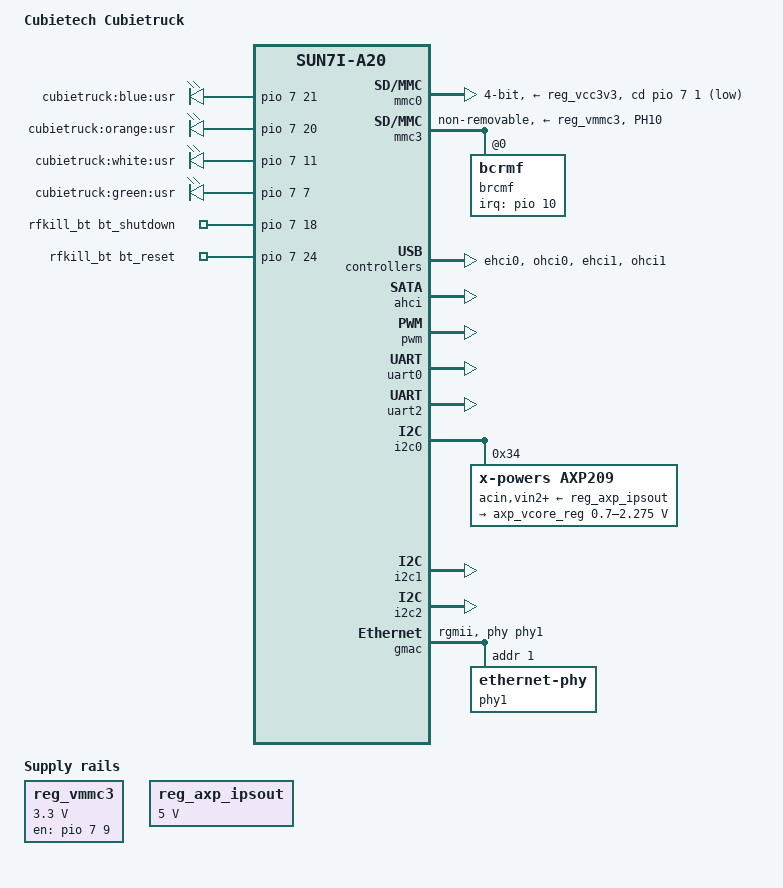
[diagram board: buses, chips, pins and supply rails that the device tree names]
/*
 * Copyright 2013 Oliver Schinagl
 *
 * Oliver Schinagl <oliver@schinagl.nl>
 *
 * The code contained herein is licensed under the GNU General Public
 * License. You may obtain a copy of the GNU General Public License
 * Version 2 or later at the following locations:
 *
 * http://www.opensource.org/licenses/gpl-license.html
 * http://www.gnu.org/copyleft/gpl.html
 */

/dts-v1/;
/include/ "sun7i-a20.dtsi"
/include/ "sunxi-common-regulators.dtsi"

/ {
	model = "Cubietech Cubietruck";
	compatible = "cubietech,cubietruck", "allwinner,sun7i-a20";

	soc@01c00000 {
		mmc0: mmc@01c0f000 {
			pinctrl-names = "default";
			pinctrl-0 = <&mmc0_pins_a>, <&mmc0_cd_pin_reference_design>;
			vmmc-supply = <&reg_vcc3v3>;
			bus-width = <4>;
			cd-gpios = <&pio 7 1 0>; /* PH1 */
			cd-inverted;
			status = "okay";
		};

		mmc3: mmc@01c12000 {
			pinctrl-names = "default";
			pinctrl-0 = <&mmc3_pins_a>, <&wifi_host_wake_pin>;
			vmmc-supply = <&reg_vmmc3>;
			non-removable;
			status = "okay";

			brcmf: bcrmf@0 {
				/* out of band interrupt not working */
				/* compatible = "broadcom,bcm43362"; */
				interrupt-parent = <&pio>;
				interrupts = <10 2>; /* EINT10 */
				status = "okay";
			};
		};

		usbphy: phy@01c13400 {
			usb1_vbus-supply = <&reg_usb1_vbus>;
			usb2_vbus-supply = <&reg_usb2_vbus>;
			status = "okay";
		};

		ehci0: usb@01c14000 {
			status = "okay";
		};

		ohci0: usb@01c14400 {
			status = "okay";
		};

		ahci: sata@01c18000 {
			target-supply = <&reg_ahci_5v>;
			status = "okay";
		};

		ehci1: usb@01c1c000 {
			status = "okay";
		};

		ohci1: usb@01c1c400 {
			status = "okay";
		};

		pinctrl@01c20800 {
			mmc3_pins_a: mmc3@0 {
				/* AP6210 requires pull-up */
				allwinner,pull = <1>;
			};

			vmmc3_pin_cubietruck: vmmc3_pin@0 {
				allwinner,pins = "PH9";
				allwinner,function = "gpio_out";
				allwinner,drive = <0>;
				allwinner,pull = <0>;
			};

			ahci_pwr_pin_cubietruck: ahci_pwr_pin@1 {
				allwinner,pins = "PH12";
				allwinner,function = "gpio_out";
				allwinner,drive = <0>;
				allwinner,pull = <0>;
			};

			led_pins_cubietruck: led_pins@0 {
				allwinner,pins = "PH7", "PH11", "PH20", "PH21";
				allwinner,function = "gpio_out";
				allwinner,drive = <0>;
				allwinner,pull = <0>;
			};

			wifi_host_wake_pin: wifi_host_wake_pin@0 {
				allwinner,pins = "PH10";
				allwinner,function = "gpio_in";
				allwinner,drive = <0>;
				allwinner,pull = <0>;
			};

			bt_pwr_pin: bt_pwr_pin@0 {
				allwinner,pins = "PH18";
				allwinner,function = "gpio_out";
				allwinner,drive = <0>;
				allwinner,pull = <0>;
			};

			bt_wake_pin: bt_wake_pin@0 {
				allwinner,pins = "PH24";
				allwinner,function = "gpio_out";
				allwinner,drive = <0>;
				allwinner,pull = <0>;
			};
		};

		pwm: pwm@01c20e00 {
			pinctrl-names = "default";
			pinctrl-0 = <&pwm0_pins_a>, <&pwm1_pins_a>;
			status = "okay";
		};

		uart0: serial@01c28000 {
			pinctrl-names = "default";
			pinctrl-0 = <&uart0_pins_a>;
			status = "okay";
		};

		uart2: serial@01c28800 {
			pinctrl-names = "default";
			pinctrl-0 = <&uart2_pins_a>;
			status = "okay";
		};

		i2c0: i2c@01c2ac00 {
			pinctrl-names = "default";
			pinctrl-0 = <&i2c0_pins_a>;
			status = "okay";

			axp209: pmic@34 {
				compatible = "x-powers,axp209";
				reg = <0x34>;
				interrupt-parent = <&nmi_intc>;
				interrupts = <0 8>;

				interrupt-controller;
				#interrupt-cells = <1>;

				acin-supply = <&reg_axp_ipsout>;
				vin2-supply = <&reg_axp_ipsout>;
				vin3-supply = <&reg_axp_ipsout>;
				ldo24in-supply = <&reg_axp_ipsout>;
				ldo3in-supply = <&reg_axp_ipsout>;
				ldo5in-supply = <&reg_axp_ipsout>;

				regulators {
					x-powers,dcdc-freq = <1500>;

					axp_vcore_reg: dcdc2 {
						regulator-min-microvolt = <700000>;
						regulator-max-microvolt = <2275000>;
						regulator-always-on;
					};

					axp_ddr_reg: dcdc3 {
						regulator-always-on;
					};

					axp_rtc_reg: ldo1 {
						regulator-always-on;
					};

					axp_analog_reg: ldo2 {
						regulator-always-on;
					};

					axp_pll_reg: ldo3 {
						regulator-always-on;
					};

					axp_hdmi_reg: ldo4 {
						regulator-always-on;
					};

					axp_mic_reg: ldo5 {
						regulator-always-on;
					};
				};
			};
		};

		i2c1: i2c@01c2b000 {
			pinctrl-names = "default";
			pinctrl-0 = <&i2c1_pins_a>;
			status = "okay";
		};

		i2c2: i2c@01c2b400 {
			pinctrl-names = "default";
			pinctrl-0 = <&i2c2_pins_a>;
			status = "okay";
		};

		gmac: ethernet@01c50000 {
			pinctrl-names = "default";
			pinctrl-0 = <&gmac_pins_rgmii_a>;
			phy = <&phy1>;
			phy-mode = "rgmii";
			status = "okay";

			phy1: ethernet-phy@1 {
				reg = <1>;
			};
		};
	};

	leds {
		compatible = "gpio-leds";
		pinctrl-names = "default";
		pinctrl-0 = <&led_pins_cubietruck>;

		blue {
			label = "cubietruck:blue:usr";
			gpios = <&pio 7 21 0>;
		};

		orange {
			label = "cubietruck:orange:usr";
			gpios = <&pio 7 20 0>;
		};

		white {
			label = "cubietruck:white:usr";
			gpios = <&pio 7 11 0>;
		};

		green {
			label = "cubietruck:green:usr";
			gpios = <&pio 7 7 0>;
		};
	};

	reg_ahci_5v: ahci-5v {
		pinctrl-0 = <&ahci_pwr_pin_cubietruck>;
		gpio = <&pio 7 12 0>;
		status = "okay";
	};

	reg_usb1_vbus: usb1-vbus {
		status = "okay";
	};

	reg_usb2_vbus: usb2-vbus {
		status = "okay";
	};

	reg_vmmc3: vmmc3 {
		compatible = "regulator-fixed";
		pinctrl-names = "default";
		pinctrl-0 = <&vmmc3_pin_cubietruck>;
		regulator-name = "vmmc3";
		regulator-min-microvolt = <3300000>;
		regulator-max-microvolt = <3300000>;
		enable-active-high;
		gpio = <&pio 7 9 0>;
	};

	rfkill-switches {
		compatible = "simple-bus";
		pinctrl-names = "default";

		rfkill_bt {
			compatible = "rfkill-gpio";
			pinctrl-0 = <&bt_pwr_pin>, <&clk_out_a_pins_a>;
			rfkill-name = "bt";
			rfkill-type = <2>;
			bt_shutdown-gpios = <0>, <&pio 7 18 0>; /* PH18 */
			bt_reset-gpios = <&pio 7 24 0>; /* PH24 */
			clocks = <&clk_out_a>;
			clock-frequency = <32768>;
		};
	};

	reg_axp_ipsout: axp_ipsout {
		compatible = "regulator-fixed";
		regulator-name = "axp-ipsout";
		regulator-min-microvolt = <5000000>;
		regulator-max-microvolt = <5000000>;
		regulator-always-on;
	};
};
